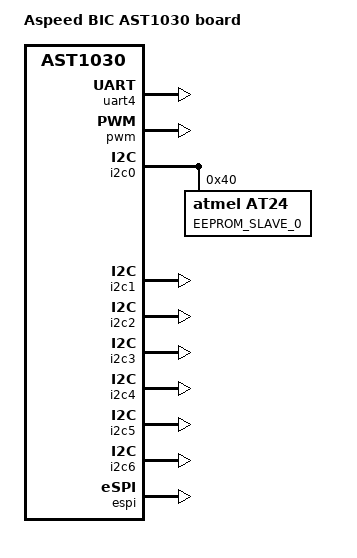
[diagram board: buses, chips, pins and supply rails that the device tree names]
/*
 * Copyright (c) 2021 ASPEED Technology Inc.
 *
 * SPDX-License-Identifier: Apache-2.0
 */

/dts-v1/;
#include <aspeed/ast10x0.dtsi>

/ {
	model = "Aspeed BIC AST1030 board";
	compatible = "aspeed,bic-ast1030", "aspeed,ast1030";

	chosen {
		zephyr,console = &uart4;
		zephyr,shell = &uart4;
		zephyr,sram = &sram0;
		zephyr,flash = &flash0;
	};
};

&flash0 {
	reg = <0x20000000 DT_SIZE_K(512)>;
};

&sram0 {
	reg = <0 DT_SIZE_K(448)>, <0x70000 DT_SIZE_K(320)>;
};

&uart4 {
	status = "okay";
};

&pwm {
	status = "okay";
};

&i2c0 {
	status = "okay";

	eeprom@40 {
		compatible = "atmel,at24";
		reg = <0x40>;
		label = "EEPROM_SLAVE_0";
		size = <256>;
		pagesize = <16>;
		address-width = <8>;
		timeout = <5>;
		status = "okay";
	};

};

&i2c1 {
	status = "okay";
};

&i2c2 {
	status = "okay";
};

&i2c3 {
	status = "okay";
};

&i2c4 {
	status = "okay";
};

&i2c5 {
	status = "okay";
};

&i2c6 {
	status = "okay";
};

&espi {
	status = "okay";

	perif,dma-mode;
	perif,memcyc-src-addr = <0x98000000>;
	perif,memcyc-size = <0x10000>;

	oob,dma-mode;

	flash,dma-mode;
	flash,safs-mode = <0x1>;
};
